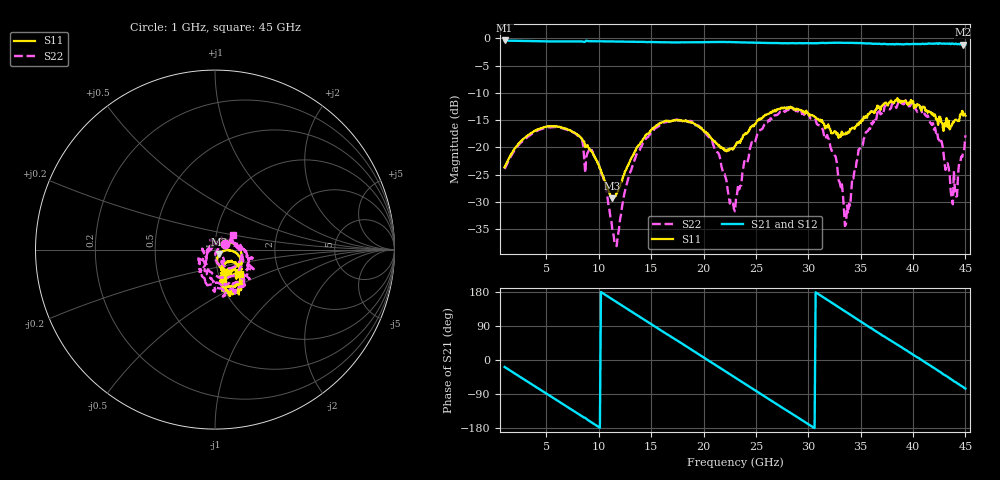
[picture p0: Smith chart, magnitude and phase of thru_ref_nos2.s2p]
!Keysight Technologies,N5247B,MY61255062,A.19.80.06
!Date: Monday, May 18, 2026 12:33:23
!Correction: S11(Cdelta 2-Port  )
!S21(Cdelta 2-Port  )
!S12(Cdelta 2-Port  )
!S22(Cdelta 2-Port  )
!S2P File: Measurements: S11, S21, S12, S22:
# Hz S  dB  R 50
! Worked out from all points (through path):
!   441 points, 1 GHz to 45 GHz, reference 50 ohm
!   highest |S21| = -0.40 dB at 1 GHz (marker M1); lowest = -1.2 dB at 44.8 GHz (marker M2)
!   group delay of S21, straight-line fit = 49 ps
!   lowest |S11| = -29.3 dB at 11.3 GHz (marker M3), VSWR 1.07, Z = 52.3 - j2.6 ohm
!   |S11| at or under -10 dB: start of sweep to end of sweep
!   |S22| runs from -38.1 to -11.4 dB; largest |S21 - S12| = 0.016
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1e9  -23.62 27.4  -0.40 -18.4  -0.40 -18.4  -23.98 28.7
4.8e9  -16.31 -14.9  -0.57 -85.3  -0.57 -85.3  -16.48 -8.2
8.4e9  -18.54 -67.1  -0.58 -148.7  -0.58 -148.7  -18.54 -59.2
1.02e10  -24.25 -77.7  -0.56 179.4  -0.56 179.4  -24.56 -85.8
1.13e10  -29.32 -46.4  -0.59 159.8  -0.59 159.8  -35.45 -76.9
1.17e10  -28.38 -24.1  -0.60 152.7  -0.60 152.7  -38.13 -8.1
1.34e10  -20.89 -3.7  -0.64 122.8  -0.64 122.8  -22.36 21.3
1.57e10  -15.69 -25.9  -0.72 82.1  -0.72 82.1  -16.16 -12.7
1.96e10  -16.19 -67.7  -0.73 14.1  -0.73 14.1  -16.19 -83.3
2.3e10  -19.71 -42.7  -0.73 -46.5  -0.73 -46.5  -31.75 114.8
2.46e10  -16.24 -32.6  -0.79 -74.8  -0.79 -74.7  -19.07 29.9
2.64e10  -13.55 -45.5  -0.87 -106.4  -0.86 -106.4  -14.66 -10.4
2.86e10  -13.02 -65.3  -0.89 -144.7  -0.89 -144.8  -13.06 -54.5
3.04e10  -14.14 -76.9  -0.89 -176.3  -0.88 -176.2  -14.63 -92.3
3.25e10  -17.07 -73.0  -0.82 146.5  -0.84 146.6  -21.42 -140.7
3.36e10  -17.31 -56.4  -0.83 126.8  -0.85 126.7  -34.06 134.1
3.55e10  -14.26 -41.9  -0.96 92.8  -0.96 92.7  -17.24 14.1
3.77e10  -11.85 -59.2  -1.09 54.0  -1.06 54.3  -13.02 -31.2
4.14e10  -13.65 -77.3  -0.98 -10.5  -0.99 -10.3  -14.15 -103.4
4.39e10  -15.38 -63.3  -1.06 -56.3  -0.99 -55.3  -24.36 115.2
4.48e10  -14.20 -45.4  -1.16 -71.6  -1.08 -71.2  -20.74 35.3
4.5e10  -14.17 -44.2  -1.13 -75.5  -1.09 -75.4  -17.78 38.4
